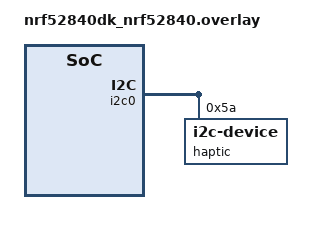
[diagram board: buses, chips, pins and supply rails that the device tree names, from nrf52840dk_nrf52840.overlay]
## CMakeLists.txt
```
cmake_minimum_required(VERSION 3.20.0)
find_package(Zephyr REQUIRED HINTS $ENV{ZEPHYR_BASE})

project(SGL-Haptic-Controller)

target_sources(app PRIVATE src/main.c)
```

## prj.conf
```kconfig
CONFIG_LOG=y
CONFIG_CBPRINTF_FP_SUPPORT=y
CONFIG_I2C=y
```

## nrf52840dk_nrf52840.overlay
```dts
&i2c0{
    haptic: drv2605l@5a{
        compatible = "i2c-device";
        reg = <0x5a>;
        status = "okay";
    };
};
```

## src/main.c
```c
// Libraries
#include <zephyr/kernel.h>
#include <zephyr/device.h>
#include <zephyr/drivers/i2c.h>
#include <zephyr/logging/log.h>

// Register Logger
LOG_MODULE_REGISTER(Haptic, LOG_LEVEL_DBG);

// Define Haptic Sensor
#define HAP_NODE DT_NODELABEL(haptic)
const struct i2c_dt_spec hapSensor = I2C_DT_SPEC_GET(HAP_NODE);

/////////////////////
//                 //
//     M A I N     //
//                 //
/////////////////////

int main(void){

        // Variables
        int err;
        uint8_t buffer[2];

        // Test I2C Bus
        if(!i2c_is_ready_dt(&hapSensor)){
                LOG_ERR("I2C bus is not ready.");
        }else{
                LOG_INF("Nominal");
        }

        ////////////// AUTO CALIBRATION //////////////

        // Auto calibration mode
        buffer[0] = 0x01;
        buffer[1] = 0x07;
        err = i2c_write_dt(&hapSensor, buffer, 2);
        if(err){
                LOG_ERR("Failed to write (auto calibration mode) to I2C device: %d", err);
        }else{
                LOG_INF("Auto Calibration Mode Nominal");
        }

        // Rated voltage (3)
        buffer[0] = 0x16;
        buffer[1] = 0x90;
        err = i2c_write_dt(&hapSensor, buffer, 2);
        if(err){
                LOG_ERR("Failed to write (rated voltage) to I2C device: %d", err);
        }else{
                LOG_INF("Rated Voltage Nominal");
        }

        // Overdrive voltage (3.6)
        buffer[0] = 0x17;
        buffer[1] = 0xA4;
        err = i2c_write_dt(&hapSensor, buffer, 2);
        if(err){
                LOG_ERR("Failed to write (overdrive voltage) to I2C device: %d", err);
        }else{
                LOG_INF("Nominal");
        }

        // Feedback control
        buffer[0] = 0x1A;
        buffer[1] = 0x36;
        err = i2c_write_dt(&hapSensor, buffer, 2);
        if(err){
                LOG_ERR("Failed to write (feedback control) to I2C device: %d", err);
        }else{
                LOG_INF("Nominal");
        }

        // Control 1
        buffer[0] = 0x1B;
        buffer[1] = 0x13;
        err = i2c_write_dt(&hapSensor, buffer, 2);
        if(err){
                LOG_ERR("Failed to write (control 1) to I2C device: %d", err);
        }else{
                LOG_INF("Nominal");
        }

        // Control 2
        buffer[0] = 0x1C;
        buffer[1] = 0xF5;
        err = i2c_write_dt(&hapSensor, buffer, 2);
        if(err){
                LOG_ERR("Failed to write (control 2) to I2C device: %d", err);
        }else{
                LOG_INF("Nominal");
        }

        // Control 3
        buffer[0] = 0x1D;
        buffer[1] = 0xA0;
        err = i2c_write_dt(&hapSensor, buffer, 2);
        if(err){
                LOG_ERR("Failed to write (control 3) to I2C device: %d", err);
        }else{
                LOG_INF("Nominal");
        }

        // GO
        buffer[0] = 0x0C;
        buffer[1] = 0x01;
        err = i2c_write_dt(&hapSensor, buffer, 2);
        if(err){
                LOG_ERR("Failed to write GO to I2C device: %d", err);
        }else{
                LOG_INF("Nominal");
        }
        k_msleep(1000);

        ////////////// HAPTIC TEST //////////////

        // Internal trigger mode
        buffer[0] = 0x01;
        buffer[1] = 0x00;
        err = i2c_write_dt(&hapSensor, buffer, 2);
        if(err){
                LOG_ERR("Failed to write (internal trigger mode) to I2C device: %d", err);
        }else{
                LOG_INF("Nominal");
        }

        k_msleep(5000);

        /////// Strong Click ///////
        buffer[0] = 0x04;
        buffer[1] = 0x01;
        err = i2c_write_dt(&hapSensor, buffer, 2);
        if(err){
                LOG_ERR("Failed to write (strong click) to I2C device: %d", err);
        }else{
                LOG_INF("Strong Click Nominal");
        }
        // GO
        buffer[0] = 0x0C;
        buffer[1] = 0x01;
        err = i2c_write_dt(&hapSensor, buffer, 2);
        if(err){
                LOG_ERR("Failed to write GO to I2C device: %d", err);
        }else{
                LOG_INF("GO Nominal");
        }
        k_msleep(2000);
        // STOP
        buffer[0] = 0x0C;
        buffer[1] = 0x00;
        err = i2c_write_dt(&hapSensor, buffer, 2);
        if(err){
                LOG_ERR("Failed to write STOP to I2C device: %d", err);
        }else{
                LOG_INF("STOP Nominal");
        }

        /////// Double Click ///////
        buffer[0] = 0x04;
        buffer[1] = 0x0A;
        err = i2c_write_dt(&hapSensor, buffer, 2);
        if(err){
                LOG_ERR("Failed to write (double click) to I2C device: %d", err);
        }else{
                LOG_INF("Double Click Nominal");
        }
        // GO
        buffer[0] = 0x0C;
        buffer[1] = 0x01;
        err = i2c_write_dt(&hapSensor, buffer, 2);
        if(err){
                LOG_ERR("Failed to write GO to I2C device: %d", err);
        }else{
                LOG_INF("GO Nominal");
        }
        k_msleep(2000);
        // STOP
        buffer[0] = 0x0C;
        buffer[1] = 0x00;
        err = i2c_write_dt(&hapSensor, buffer, 2);
        if(err){
                LOG_ERR("Failed to write STOP to I2C device: %d", err);
        }else{
                LOG_INF("STOP Nominal");
        }

        /////// Triple Click ///////
        buffer[0] = 0x04;
        buffer[1] = 0x0C;
        err = i2c_write_dt(&hapSensor, buffer, 2);
        if(err){
                LOG_ERR("Failed to write (triple click) to I2C device: %d", err);
        }else{
                LOG_INF("Triple Click Nominal");
        }
        // GO
        buffer[0] = 0x0C;
        buffer[1] = 0x01;
        err = i2c_write_dt(&hapSensor, buffer, 2);
        if(err){
                LOG_ERR("Failed to write GO to I2C device: %d", err);
        }else{
                LOG_INF("GO Nominal");
        }
        k_msleep(2000);
        // STOP
        buffer[0] = 0x0C;
        buffer[1] = 0x00;
        err = i2c_write_dt(&hapSensor, buffer, 2);
        if(err){
                LOG_ERR("Failed to write GO to I2C device: %d", err);
        }else{
                LOG_INF("STOP Nominal");
        }

        ////////////// VARIOUS EFFECTS //////////////
        
        k_msleep(7000);

        /////// Strong Buzz - 100% ///////
        buffer[0] = 0x04;
        buffer[1] = 0x0E;
        err = i2c_write_dt(&hapSensor, buffer, 2);
        if(err){
                LOG_ERR("Failed to write to I2C device: %d", err);
        }else{
                LOG_INF("Strong Buzz - 100");
        }
        // GO
        buffer[0] = 0x0C;
        buffer[1] = 0x01;
        err = i2c_write_dt(&hapSensor, buffer, 2);
        if(err){
                LOG_ERR("Failed to write GO to I2C device: %d", err);
        }else{
                LOG_INF("GO Nominal");
        }
        k_msleep(2000);
        // STOP
        buffer[0] = 0x0C;
        buffer[1] = 0x00;
        err = i2c_write_dt(&hapSensor, buffer, 2);
        if(err){
                LOG_ERR("Failed to write STOP to I2C device: %d", err);
        }else{
                LOG_INF("STOP Nominal");
        }
        
        /////// Long Double Sharp Click Strong ///////
        buffer[0] = 0x04;
        buffer[1] = 0x25;
        err = i2c_write_dt(&hapSensor, buffer, 2);
        if(err){
                LOG_ERR("Failed to write to I2C device: %d", err);
        }else{
                LOG_INF("Long Double Sharp Click Strong");
        }
        // GO
        buffer[0] = 0x0C;
        buffer[1] = 0x01;
        err = i2c_write_dt(&hapSensor, buffer, 2);
        if(err){
                LOG_ERR("Failed to write GO to I2C device: %d", err);
        }else{
                LOG_INF("GO Nominal");
        }
        k_msleep(2000);
        // STOP
        buffer[0] = 0x0C;
        buffer[1] = 0x00;
        err = i2c_write_dt(&hapSensor, buffer, 2);
        if(err){
                LOG_ERR("Failed to write STOP to I2C device: %d", err);
        }else{
                LOG_INF("STOP Nominal");
        }
        
        /////// Pulsing Strong ///////
        buffer[0] = 0x04;
        buffer[1] = 0x34;
        err = i2c_write_dt(&hapSensor, buffer, 2);
        if(err){
                LOG_ERR("Failed to write to I2C device: %d", err);
        }else{
                LOG_INF("Pulsing Strong");
        }
        // GO
        buffer[0] = 0x0C;
        buffer[1] = 0x01;
        err = i2c_write_dt(&hapSensor, buffer, 2);
        if(err){
                LOG_ERR("Failed to write GO to I2C device: %d", err);
        }else{
                LOG_INF("GO Nominal");
        }
        k_msleep(2000);
        // STOP
        buffer[0] = 0x0C;
        buffer[1] = 0x00;
        err = i2c_write_dt(&hapSensor, buffer, 2);
        if(err){
                LOG_ERR("Failed to write STOP to I2C device: %d", err);
        }else{
                LOG_INF("STOP Nominal");
        }
        


        /////// Transition Ramp Up Long Smooth 1 ///////
        buffer[0] = 0x04;
        buffer[1] = 0x52;
        err = i2c_write_dt(&hapSensor, buffer, 2);
        if(err){
                LOG_ERR("Failed to write to I2C device: %d", err);
        }else{
                LOG_INF("Transition Ramp Up Long Smooth 1");
        }
        // GO
        buffer[0] = 0x0C;
        buffer[1] = 0x01;
        err = i2c_write_dt(&hapSensor, buffer, 2);
        if(err){
                LOG_ERR("Failed to write GO to I2C device: %d", err);
        }else{
                LOG_INF("GO Nominal");
        }
        k_msleep(2000);
        // STOP
        buffer[0] = 0x0C;
        buffer[1] = 0x00;
        err = i2c_write_dt(&hapSensor, buffer, 2);
        if(err){
                LOG_ERR("Failed to write STOP to I2C device: %d", err);
        }else{
                LOG_INF("STOP Nominal");
        }
        


        /////// Smooth Hum 1 ///////
        buffer[0] = 0x77;
        buffer[1] = 0x0C;
        err = i2c_write_dt(&hapSensor, buffer, 2);
        if(err){
                LOG_ERR("Failed to write to I2C device: %d", err);
        }else{
                LOG_INF("Smooth Hum 1");
        }
        // GO
        buffer[0] = 0x0C;
        buffer[1] = 0x01;
        err = i2c_write_dt(&hapSensor, buffer, 2);
        if(err){
                LOG_ERR("Failed to write GO to I2C device: %d", err);
        }else{
                LOG_INF("GO Nominal");
        }
        k_msleep(2000);
        // STOP
        buffer[0] = 0x0C;
        buffer[1] = 0x00;
        err = i2c_write_dt(&hapSensor, buffer, 2);
        if(err){
                LOG_ERR("Failed to write STOP to I2C device: %d", err);
        }else{
                LOG_INF("STOP Nominal");
        }
}
```
